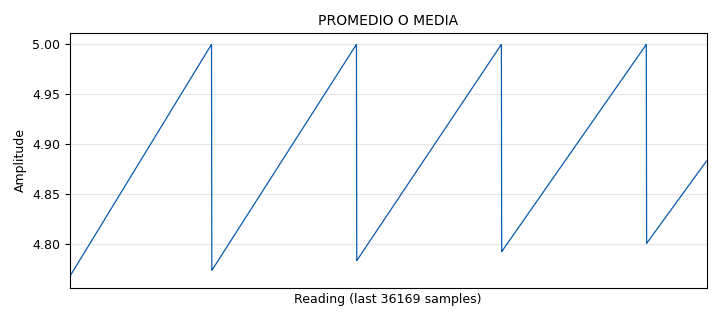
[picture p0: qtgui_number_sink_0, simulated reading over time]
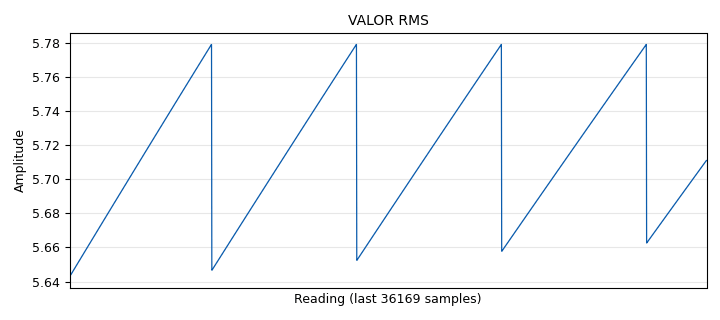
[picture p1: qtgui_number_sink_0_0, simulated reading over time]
options:
  parameters:
    author: KAREN_VALENCIA_DUVAN_RICARDO_JAIMES
    copyright: UIS
    description: 'CALCULA EL PROMEDIO DE TIEMPOS DE UNA SEÑAL EN PRESENCIA DE RUIDO '
    generate_options: qt_gui
    id: PRACTICA2_RUIDO
    output_language: python
    title: PRACTICA2_RUIDO
  states: {}

blocks:
- name: samp_rate
  id: variable
  parameters:
    value: '32000'
  states: {}
- name: analog_noise_source_x_0
  id: analog_noise_source_x
  parameters:
    amp: '1'
    noise_type: analog.GR_GAUSSIAN
    seed: '0'
    type: float
  states: {state: disabled}
- name: analog_sig_source_x_0
  id: analog_sig_source_x
  parameters:
    amp: '10'
    freq: '1000'
    offset: '0'
    phase: '0'
    samp_rate: samp_rate
    type: float
    waveform: analog.GR_TRI_WAVE
  states: {}
- name: blocks_add_xx_0
  id: blocks_add_xx
  parameters:
    type: float
  states: {state: disabled}
- name: epy_block_0
  id: epy_block
  parameters:
    _source_code: |
      """
      Embedded Python Blocks:

      Each time this file is saved, GRC will instantiate the first class it finds
      to get ports and parameters of your block. The arguments to __init__  will
      be the parameters. All of them are required to have default values!
      """

      import numpy as np
      from gnuradio import gr


      class blk(gr.sync_block):
          def __init__(self):
              gr.sync_block.__init__(
              self, 
              name = 'PROMEDIOS_TIEMPO',
              in_sig =[np.float32],
              out_sig=[np.float32, np.float32, np.float32, np.float32, np.float32]
              )
              self.acum_anterior =0
              self.Ntotales =0
              self.acum_anterior1=0
              self.acum_anterior2=0

              
          def work(self, input_items, output_items): 
              x=input_items[0]        #señal de entrada 
              y0=output_items[0]      #promedio 
              y1=output_items[1]      #media cuadratica 
              y2=output_items[2]      #RMS
              y3=output_items[3]      #potencia promedio 
              y4=output_items[4]      #desviacion estandar 
              
              
              #CALCULANDO EL PROMEDIO O MEDIA 
              N=len(x)
              self.Ntotales=self.Ntotales + N #guarda la longitud del vectro de entrada 
              acumulador= self.acum_anterior + np.cumsum(x) #calcula la suma de los elementos del vector 
              self.acum_anterior=acumulador[N-1] #PARA QUE HACE ESA COPIA ?
              y0[:]=(acumulador/self.Ntotales) #NO SERIA acum_anterior ?
              
              #CALCULANDO LA MEDIA CUADRATICA
              xp=np.multiply(x,x)
              acumulador1=self.acum_anterior1 + np.cumsum(xp)
              self.acum_anterior1=acumulador1[N-1]
              y1[:]=acumulador1/self.Ntotales
              
              #CALCULANDO EL VALOR RMS 
              y2[:]=np.sqrt(y1)
              
              #CALCULANDO LA POTENCIA PROMEDIO 
              y3[:]=np.multiply(y2,y2)
              
              #CALCULANDO LA DESVIACION ESTANDAR 
              xd=np.multiply(x-y0,x-y0)
              acumulador2=self.acum_anterior2 + np.cumsum(xd)
              self.acum_anterior2=acumulador2[N-1]
              y4[:]=np.sqrt(acumulador2/self.Ntotales)
              
              return len(y0)
  states: {}
- name: epy_block_1
  id: epy_block
  parameters:
    _source_code: |-
      """
      Embedded Python Blocks:

      Each time this file is saved, GRC will instantiate the first class it finds
      to get ports and parameters of your block. The arguments to __init__  will
      be the parameters. All of them are required to have default values!
      """


      #crear el vector de ruido 

      import numpy as np
      from gnuradio import gr


      class blck(gr.sync_block):
          def __init__(self):
              gr.sync_block.__init__( 
      	self,
              name='RUIDO',
              in_sig=[np.float32],
              out_sig=[np.float32]
              )

          def work(self, input_items, output_items):
              x=input_items[0]
              y=output_items[0]
              
              N=len(x)
              noise=np.random.normal(0,1,N)
              y[:]=noise
          
              return len(y)
  states: {state: disabled}
- name: qtgui_number_sink_0
  id: qtgui_number_sink
  parameters:
    autoscale: 'True'
    graph_type: qtgui.NUM_GRAPH_HORIZ
    name: '"PROMEDIO O MEDIA "'
    type: float
  states: {}
- name: qtgui_number_sink_0_0
  id: qtgui_number_sink
  parameters:
    autoscale: 'True'
    graph_type: qtgui.NUM_GRAPH_HORIZ
    name: '"VALOR RMS"'
    type: float
  states: {}
- name: qtgui_number_sink_0_1
  id: qtgui_number_sink
  parameters:
    autoscale: 'True'
    graph_type: qtgui.NUM_GRAPH_HORIZ
    name: '"DESVIACION ESTANDAR "'
    type: float
  states: {}
- name: qtgui_number_sink_0_2
  id: qtgui_number_sink
  parameters:
    autoscale: 'True'
    graph_type: qtgui.NUM_GRAPH_HORIZ
    name: '"MEDIA CUADRATICA"'
    type: float
  states: {}
- name: qtgui_number_sink_0_3
  id: qtgui_number_sink
  parameters:
    autoscale: 'True'
    graph_type: qtgui.NUM_GRAPH_HORIZ
    name: '"POTENCIA PROMEDIO"'
    type: float
  states: {}

connections:
- [analog_noise_source_x_0, '0', blocks_add_xx_0, '1']
- [analog_sig_source_x_0, '0', blocks_add_xx_0, '1']
- [analog_sig_source_x_0, '0', epy_block_0, '0']
- [analog_sig_source_x_0, '0', epy_block_1, '0']
- [blocks_add_xx_0, '0', epy_block_0, '0']
- [epy_block_0, '0', qtgui_number_sink_0, '0']
- [epy_block_0, '1', qtgui_number_sink_0_2, '0']
- [epy_block_0, '2', qtgui_number_sink_0_0, '0']
- [epy_block_0, '3', qtgui_number_sink_0_3, '0']
- [epy_block_0, '4', qtgui_number_sink_0_1, '0']
- [epy_block_1, '0', blocks_add_xx_0, '0']
- [epy_block_1, '0', epy_block_0, '0']

metadata:
  file_format: 1
  grc_version: 3.10.9.2
